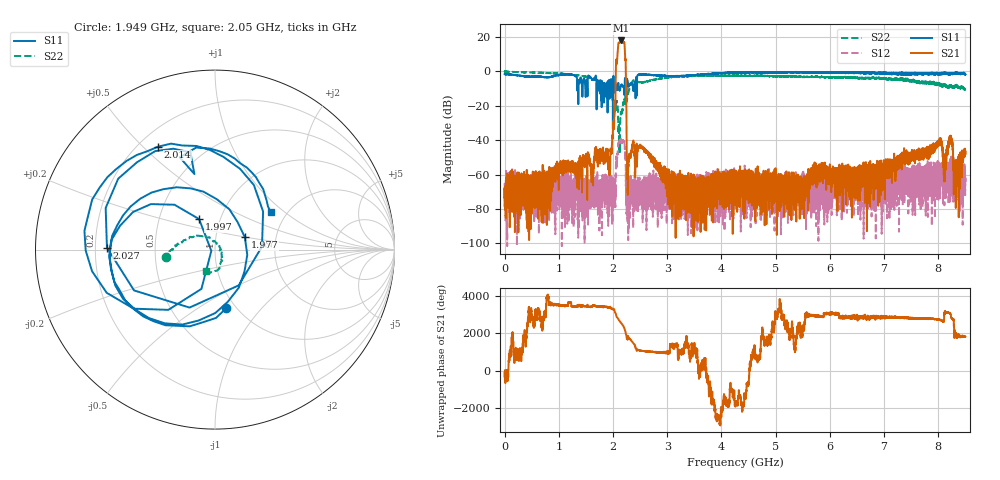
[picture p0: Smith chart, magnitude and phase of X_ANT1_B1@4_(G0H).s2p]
#  HZ  S  RI  R  50.00
! Rohde & Schwarz Vector Network Analyzer
! Rohde-Schwarz,ZNBT8-20Port,1318700624101681,3.50
! Created: UTC 7/15/2025, 2:08:55 PM
! freq[Hz]  re:S1010  im:S1010  re:S0410  im:S0410  re:S1004  im:S1004  re:S44  im:S44
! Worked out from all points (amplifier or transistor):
!   8500 points, 1 MHz to 8.5 GHz, reference 50 ohm
!   highest |S21| = 17.9 dB at 2.144 GHz (marker M1)
!   |S21| within 3 dB of that: 2.095 GHz to 2.215 GHz (119.8 MHz wide, 5.56 % of centre)
!   unconditionally stable (mu >= 1): start of sweep to end of sweep
!   at 1.417 GHz: K = 166548.82, MAG = -54.9 dB, |S12| = -60.6 dB
!   at 4.251 GHz: K = 104490.78, MAG = -54.9 dB, |S12| = -63.6 dB
!   at 8.5 GHz: K = 59147.59, MAG = -42.7 dB, |S12| = -63.8 dB
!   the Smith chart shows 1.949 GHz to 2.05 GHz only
!   S11 on the Smith chart (normalised r, x): 1.949 GHz: 0.90, -0.66; 1.977 GHz: 1.38, +0.20; 1.997 GHz: 0.79, +0.28; 2.014 GHz: 0.28, +0.55; 2.027 GHz: 0.25, +0.01; 2.05 GHz: 1.65, +0.80
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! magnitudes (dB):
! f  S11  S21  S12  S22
! 1 MHz  -1.7  -68.5  -71.7  -0.2
! 1.418 GHz  -5.1  -58.9  -66.7  -2.7
! 1.949 GHz  -9.6  -51.4  -62.9  -11.3
! 1.977 GHz  -14.9  -46.9  -75.4  -14.1
! 1.997 GHz  -14.3  -37.2  -70.4  -18.5
! 2.014 GHz  -3.7  -33.0  -67.0  -28.6
! 2.027 GHz  -4.4  -17.1  -71.2  -23.8
! 2.05 GHz  -8.5  -6.4  -60.6  -17.7
! 2.144 GHz  -8.8  17.9  -39.9  -24.7
! 2.205 GHz  -11.0  16.7  -40.9  -16.9
! 2.293 GHz  -8.4  -49.0  -91.5  -11.2
! 2.513 GHz  -1.9  -44.0  -65.7  -6.5
! 2.834 GHz  -2.4  -56.1  -80.7  -4.5
! 3.221 GHz  -2.8  -64.4  -65.6  -2.9
! 4.251 GHz  -0.6  -67.0  -63.6  -2.6
! 5.667 GHz  -0.4  -62.0  -73.3  -3.1
! 7.084 GHz  -1.1  -57.7  -55.7  -4.1
! 8.021 GHz  -1.2  -42.8  -68.5  -7.9
! 8.129 GHz  -1.3  -54.7  -57.6  -9.2
! 8.221 GHz  -1.4  -37.4  -61.4  -8.9
! 8.321 GHz  -0.6  -60.2  -60.6  -8.5
! 8.5 GHz  -1.8  -47.8  -63.8  -10.7
